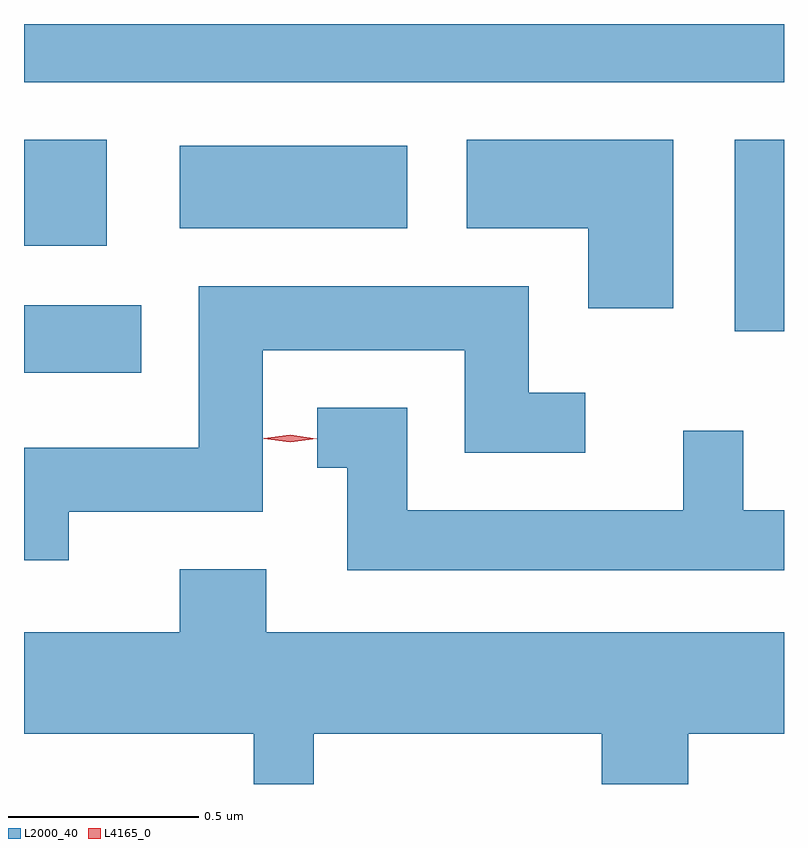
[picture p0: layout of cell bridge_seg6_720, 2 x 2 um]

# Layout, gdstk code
import gdstk
lib = gdstk.Library(unit=1e-6, precision=1e-09)
def R(c, l, rs):  # rectangles x0, y0, x1, y1
    for r in rs: c.add(gdstk.rectangle(r[:2], r[2:], *l))
def P(c, l, *ps):  # polygons
    for p in ps: c.add(gdstk.Polygon(p, *l))
L2000_40 = (2000, 40)
L4165_0 = (4165, 0)

bridge_seg6_720 = lib.new_cell('bridge_seg6_720')
R(bridge_seg6_720, L2000_40, [(307.711,1546.546,308.019,1546.724), (309.581,1546.656,309.711,1547.159), (307.711,1546.881,307.929,1547.159), (308.121,1546.926,308.719,1547.144), (307.711,1547.311,309.711,1547.464)])
P(bridge_seg6_720, L2000_40, [(309.419,1547.159),(308.876,1547.159),(308.876,1546.926),(309.196,1546.926),(309.196,1546.716),(309.419,1546.716)],
  [(307.829,1546.181),(308.339,1546.181),(308.339,1546.606),(308.871,1546.606),(308.871,1546.336),(309.188,1546.336),(309.188,1546.494),(309.039,1546.494),(309.039,1546.774),(308.171,1546.774),(308.171,1546.349),(307.711,1546.349),(307.711,1546.053),(307.829,1546.053)],
  [(309.711,1546.184),(309.604,1546.184),(309.604,1546.393),(309.446,1546.393),(309.446,1546.184),(308.719,1546.184),(308.719,1546.454),(308.483,1546.454),(308.483,1546.296),(308.561,1546.296),(308.561,1546.026),(309.711,1546.026)],
  [(308.474,1545.596),(309.231,1545.596),(309.231,1545.464),(309.459,1545.464),(309.459,1545.596),(309.711,1545.596),(309.711,1545.864),(308.349,1545.864),(308.349,1546.029),(308.121,1546.029),(308.121,1545.864),(307.711,1545.864),(307.711,1545.596),(308.316,1545.596),(308.316,1545.464),(308.474,1545.464)])
P(bridge_seg6_720, L4165_0, [(308.411,1546.363),(308.342,1546.373),(308.342,1546.373),(308.342,1546.374),(308.411,1546.383),(308.481,1546.373),(308.481,1546.373),(308.481,1546.372)])

lib.write_gds('bridge_seg6_720.gds')
